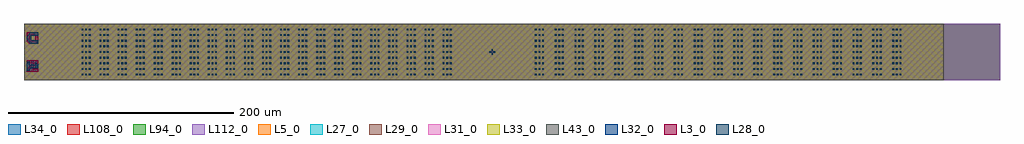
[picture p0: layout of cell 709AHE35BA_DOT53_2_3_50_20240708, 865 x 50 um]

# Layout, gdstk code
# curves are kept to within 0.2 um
from math import pi, radians
import gdstk
lib = gdstk.Library(unit=1e-6, precision=1e-09)
def R(c, l, rs):  # rectangles x0, y0, x1, y1
    for r in rs: c.add(gdstk.rectangle(r[:2], r[2:], *l))
def A(c, l, x, y, w, h, nx, ny, dx, dy):  # array of equal rectangles
    R(c, l, [(x+i*dx, y+j*dy, x+i*dx+w, y+j*dy+h) for i in range(nx) for j in range(ny)])
def P(c, l, *ps):  # polygons
    for p in ps: c.add(gdstk.Polygon(p, *l))
L3_0 = (3, 0)
L5_0 = (5, 0)
L27_0 = (27, 0)
L28_0 = (28, 0)
L29_0 = (29, 0)
L31_0 = (31, 0)
L32_0 = (32, 0)
L33_0 = (33, 0)
L34_0 = (34, 0)
L43_0 = (43, 0)
L94_0 = (94, 0)
L108_0 = (108, 0)
L112_0 = (112, 0)

dot53_800_50_1_6_1_6_t_3 = lib.new_cell('DOT53_800_50_1_6_1_6_T_3_T')
A(dot53_800_50_1_6_1_6_t_3, L3_0, 51, 4.2, 1.6, 1.6, 3, 9, 3.2, 5)
A(dot53_800_50_1_6_1_6_t_3, L3_0, 67, 4.2, 1.6, 1.6, 3, 9, 3.2, 5)
A(dot53_800_50_1_6_1_6_t_3, L3_0, 83, 4.2, 1.6, 1.6, 3, 9, 3.2, 5)
A(dot53_800_50_1_6_1_6_t_3, L3_0, 99, 4.2, 1.6, 1.6, 3, 9, 3.2, 5)
A(dot53_800_50_1_6_1_6_t_3, L3_0, 115, 4.2, 1.6, 1.6, 3, 9, 3.2, 5)
A(dot53_800_50_1_6_1_6_t_3, L3_0, 131, 4.2, 1.6, 1.6, 3, 9, 3.2, 5)
A(dot53_800_50_1_6_1_6_t_3, L3_0, 147, 4.2, 1.6, 1.6, 3, 9, 3.2, 5)
A(dot53_800_50_1_6_1_6_t_3, L3_0, 163, 4.2, 1.6, 1.6, 3, 9, 3.2, 5)
A(dot53_800_50_1_6_1_6_t_3, L3_0, 179, 4.2, 1.6, 1.6, 3, 9, 3.2, 5)
A(dot53_800_50_1_6_1_6_t_3, L3_0, 195, 4.2, 1.6, 1.6, 3, 9, 3.2, 5)
A(dot53_800_50_1_6_1_6_t_3, L3_0, 211, 4.2, 1.6, 1.6, 3, 9, 3.2, 5)
A(dot53_800_50_1_6_1_6_t_3, L3_0, 227, 4.2, 1.6, 1.6, 3, 9, 3.2, 5)
A(dot53_800_50_1_6_1_6_t_3, L3_0, 243, 4.2, 1.6, 1.6, 3, 9, 3.2, 5)
A(dot53_800_50_1_6_1_6_t_3, L3_0, 259, 4.2, 1.6, 1.6, 3, 9, 3.2, 5)
A(dot53_800_50_1_6_1_6_t_3, L3_0, 275, 4.2, 1.6, 1.6, 3, 9, 3.2, 5)
A(dot53_800_50_1_6_1_6_t_3, L3_0, 291, 4.2, 1.6, 1.6, 3, 9, 3.2, 5)
A(dot53_800_50_1_6_1_6_t_3, L3_0, 307, 4.2, 1.6, 1.6, 3, 9, 3.2, 5)
A(dot53_800_50_1_6_1_6_t_3, L3_0, 323, 4.2, 1.6, 1.6, 3, 9, 3.2, 5)
A(dot53_800_50_1_6_1_6_t_3, L3_0, 339, 4.2, 1.6, 1.6, 3, 9, 3.2, 5)
A(dot53_800_50_1_6_1_6_t_3, L3_0, 355, 4.2, 1.6, 1.6, 3, 9, 3.2, 5)
A(dot53_800_50_1_6_1_6_t_3, L3_0, 371, 4.2, 1.6, 1.6, 3, 9, 3.2, 5)
A(dot53_800_50_1_6_1_6_t_3, L3_0, 452.8, 4.2, 1.6, 1.6, 3, 9, 3.2, 5)
A(dot53_800_50_1_6_1_6_t_3, L3_0, 470.4, 4.2, 1.6, 1.6, 3, 9, 3.2, 5)
A(dot53_800_50_1_6_1_6_t_3, L3_0, 488, 4.2, 1.6, 1.6, 3, 9, 3.2, 5)
A(dot53_800_50_1_6_1_6_t_3, L3_0, 505.6, 4.2, 1.6, 1.6, 3, 9, 3.2, 5)
A(dot53_800_50_1_6_1_6_t_3, L3_0, 523.2, 4.2, 1.6, 1.6, 3, 9, 3.2, 5)
A(dot53_800_50_1_6_1_6_t_3, L3_0, 540.8, 4.2, 1.6, 1.6, 3, 9, 3.2, 5)
A(dot53_800_50_1_6_1_6_t_3, L3_0, 558.4, 4.2, 1.6, 1.6, 3, 9, 3.2, 5)
A(dot53_800_50_1_6_1_6_t_3, L3_0, 576, 4.2, 1.6, 1.6, 3, 9, 3.2, 5)
A(dot53_800_50_1_6_1_6_t_3, L3_0, 593.6, 4.2, 1.6, 1.6, 3, 9, 3.2, 5)
A(dot53_800_50_1_6_1_6_t_3, L3_0, 611.2, 4.2, 1.6, 1.6, 3, 9, 3.2, 5)
A(dot53_800_50_1_6_1_6_t_3, L3_0, 628.8, 4.2, 1.6, 1.6, 3, 9, 3.2, 5)
A(dot53_800_50_1_6_1_6_t_3, L3_0, 646.4, 4.2, 1.6, 1.6, 3, 9, 3.2, 5)
A(dot53_800_50_1_6_1_6_t_3, L3_0, 664, 4.2, 1.6, 1.6, 3, 9, 3.2, 5)
A(dot53_800_50_1_6_1_6_t_3, L3_0, 681.6, 4.2, 1.6, 1.6, 3, 9, 3.2, 5)
A(dot53_800_50_1_6_1_6_t_3, L3_0, 699.2, 4.2, 1.6, 1.6, 3, 9, 3.2, 5)
A(dot53_800_50_1_6_1_6_t_3, L3_0, 716.8, 4.2, 1.6, 1.6, 3, 9, 3.2, 5)
A(dot53_800_50_1_6_1_6_t_3, L3_0, 734.4, 4.2, 1.6, 1.6, 3, 9, 3.2, 5)
A(dot53_800_50_1_6_1_6_t_3, L3_0, 752, 4.2, 1.6, 1.6, 3, 9, 3.2, 5)
A(dot53_800_50_1_6_1_6_t_3, L3_0, 769.6, 4.2, 1.6, 1.6, 3, 9, 3.2, 5)
P(dot53_800_50_1_6_1_6_t_3, L3_0, [(415.5,24.5),(417.5,24.5),(417.5,25.5),(415.5,25.5),(415.5,27.5),(414.5,27.5),(414.5,25.5),(412.5,25.5),(412.5,24.5),(414.5,24.5),(414.5,22.5),(415.5,22.5)])
R(dot53_800_50_1_6_1_6_t_3, L5_0, [(15,0,815,50)])
R(dot53_800_50_1_6_1_6_t_3, L27_0, [(15,0,815,50)])
R(dot53_800_50_1_6_1_6_t_3, L29_0, [(15,0,815,50)])
R(dot53_800_50_1_6_1_6_t_3, L31_0, [(15,0,815,50)])
R(dot53_800_50_1_6_1_6_t_3, L33_0, [(15,0,815,50)])
R(dot53_800_50_1_6_1_6_t_3, L34_0, [(15,0,865,50)])
R(dot53_800_50_1_6_1_6_t_3, L43_0, [(15,0,815,50)])
R(dot53_800_50_1_6_1_6_t_3, L94_0, [(15,0,865,50)])
R(dot53_800_50_1_6_1_6_t_3, L108_0, [(15,0,865,50)])
R(dot53_800_50_1_6_1_6_t_3, L112_0, [(15,0,865,50)])

c_dot53_800_50_1_6_1_6_t_3 = lib.new_cell('DOT53_800_50_1_6_1_6_T_3_name')
P(c_dot53_800_50_1_6_1_6_t_3, L3_0, [(15.5,2.5),(17.5,4.5),(17.5,10.5),(15.5,12.5),(7.5,12.5),(7.5,5),(10,5),(10,10),(14,10),(15,9),(15,6),(14,5),(7.5,5),(7.5,2.5)],
  [(35,8.5),(40,2.5),(42.5,2.5),(42.5,12.5),(40,12.5),(40,6.5),(35,12.5),(32.5,12.5),(32.5,2.5),(35,2.5)])
R(c_dot53_800_50_1_6_1_6_t_3, L5_0, [(0,0,50,15)])
R(c_dot53_800_50_1_6_1_6_t_3, L27_0, [(0,0,50,15)])
R(c_dot53_800_50_1_6_1_6_t_3, L29_0, [(0,0,50,15)])
R(c_dot53_800_50_1_6_1_6_t_3, L31_0, [(0,0,50,15)])
R(c_dot53_800_50_1_6_1_6_t_3, L33_0, [(0,0,50,15)])
R(c_dot53_800_50_1_6_1_6_t_3, L34_0, [(0,0,50,15)])
R(c_dot53_800_50_1_6_1_6_t_3, L43_0, [(0,0,50,15)])
R(c_dot53_800_50_1_6_1_6_t_3, L94_0, [(0,0,50,15)])
R(c_dot53_800_50_1_6_1_6_t_3, L108_0, [(0,0,50,15)])
R(c_dot53_800_50_1_6_1_6_t_3, L112_0, [(0,0,50,15)])

dot53_800_50_1_6_1_6_t_2 = lib.new_cell('DOT53_800_50_1_6_1_6_T_28_T')
R(dot53_800_50_1_6_1_6_t_2, L5_0, [(15,0,815,50)])
R(dot53_800_50_1_6_1_6_t_2, L27_0, [(15,0,815,50)])
A(dot53_800_50_1_6_1_6_t_2, L28_0, 51, 4.2, 1.6, 1.6, 3, 9, 3.2, 5)
A(dot53_800_50_1_6_1_6_t_2, L28_0, 67, 4.2, 1.6, 1.6, 3, 9, 3.2, 5)
A(dot53_800_50_1_6_1_6_t_2, L28_0, 83, 4.2, 1.6, 1.6, 3, 9, 3.2, 5)
A(dot53_800_50_1_6_1_6_t_2, L28_0, 99, 4.2, 1.6, 1.6, 3, 9, 3.2, 5)
A(dot53_800_50_1_6_1_6_t_2, L28_0, 115, 4.2, 1.6, 1.6, 3, 9, 3.2, 5)
A(dot53_800_50_1_6_1_6_t_2, L28_0, 131, 4.2, 1.6, 1.6, 3, 9, 3.2, 5)
A(dot53_800_50_1_6_1_6_t_2, L28_0, 147, 4.2, 1.6, 1.6, 3, 9, 3.2, 5)
A(dot53_800_50_1_6_1_6_t_2, L28_0, 163, 4.2, 1.6, 1.6, 3, 9, 3.2, 5)
A(dot53_800_50_1_6_1_6_t_2, L28_0, 179, 4.2, 1.6, 1.6, 3, 9, 3.2, 5)
A(dot53_800_50_1_6_1_6_t_2, L28_0, 195, 4.2, 1.6, 1.6, 3, 9, 3.2, 5)
A(dot53_800_50_1_6_1_6_t_2, L28_0, 211, 4.2, 1.6, 1.6, 3, 9, 3.2, 5)
A(dot53_800_50_1_6_1_6_t_2, L28_0, 227, 4.2, 1.6, 1.6, 3, 9, 3.2, 5)
A(dot53_800_50_1_6_1_6_t_2, L28_0, 243, 4.2, 1.6, 1.6, 3, 9, 3.2, 5)
A(dot53_800_50_1_6_1_6_t_2, L28_0, 259, 4.2, 1.6, 1.6, 3, 9, 3.2, 5)
A(dot53_800_50_1_6_1_6_t_2, L28_0, 275, 4.2, 1.6, 1.6, 3, 9, 3.2, 5)
A(dot53_800_50_1_6_1_6_t_2, L28_0, 291, 4.2, 1.6, 1.6, 3, 9, 3.2, 5)
A(dot53_800_50_1_6_1_6_t_2, L28_0, 307, 4.2, 1.6, 1.6, 3, 9, 3.2, 5)
A(dot53_800_50_1_6_1_6_t_2, L28_0, 323, 4.2, 1.6, 1.6, 3, 9, 3.2, 5)
A(dot53_800_50_1_6_1_6_t_2, L28_0, 339, 4.2, 1.6, 1.6, 3, 9, 3.2, 5)
A(dot53_800_50_1_6_1_6_t_2, L28_0, 355, 4.2, 1.6, 1.6, 3, 9, 3.2, 5)
A(dot53_800_50_1_6_1_6_t_2, L28_0, 371, 4.2, 1.6, 1.6, 3, 9, 3.2, 5)
A(dot53_800_50_1_6_1_6_t_2, L28_0, 452.8, 4.2, 1.6, 1.6, 3, 9, 3.2, 5)
A(dot53_800_50_1_6_1_6_t_2, L28_0, 470.4, 4.2, 1.6, 1.6, 3, 9, 3.2, 5)
A(dot53_800_50_1_6_1_6_t_2, L28_0, 488, 4.2, 1.6, 1.6, 3, 9, 3.2, 5)
A(dot53_800_50_1_6_1_6_t_2, L28_0, 505.6, 4.2, 1.6, 1.6, 3, 9, 3.2, 5)
A(dot53_800_50_1_6_1_6_t_2, L28_0, 523.2, 4.2, 1.6, 1.6, 3, 9, 3.2, 5)
A(dot53_800_50_1_6_1_6_t_2, L28_0, 540.8, 4.2, 1.6, 1.6, 3, 9, 3.2, 5)
A(dot53_800_50_1_6_1_6_t_2, L28_0, 558.4, 4.2, 1.6, 1.6, 3, 9, 3.2, 5)
A(dot53_800_50_1_6_1_6_t_2, L28_0, 576, 4.2, 1.6, 1.6, 3, 9, 3.2, 5)
A(dot53_800_50_1_6_1_6_t_2, L28_0, 593.6, 4.2, 1.6, 1.6, 3, 9, 3.2, 5)
A(dot53_800_50_1_6_1_6_t_2, L28_0, 611.2, 4.2, 1.6, 1.6, 3, 9, 3.2, 5)
A(dot53_800_50_1_6_1_6_t_2, L28_0, 628.8, 4.2, 1.6, 1.6, 3, 9, 3.2, 5)
A(dot53_800_50_1_6_1_6_t_2, L28_0, 646.4, 4.2, 1.6, 1.6, 3, 9, 3.2, 5)
A(dot53_800_50_1_6_1_6_t_2, L28_0, 664, 4.2, 1.6, 1.6, 3, 9, 3.2, 5)
A(dot53_800_50_1_6_1_6_t_2, L28_0, 681.6, 4.2, 1.6, 1.6, 3, 9, 3.2, 5)
A(dot53_800_50_1_6_1_6_t_2, L28_0, 699.2, 4.2, 1.6, 1.6, 3, 9, 3.2, 5)
A(dot53_800_50_1_6_1_6_t_2, L28_0, 716.8, 4.2, 1.6, 1.6, 3, 9, 3.2, 5)
A(dot53_800_50_1_6_1_6_t_2, L28_0, 734.4, 4.2, 1.6, 1.6, 3, 9, 3.2, 5)
A(dot53_800_50_1_6_1_6_t_2, L28_0, 752, 4.2, 1.6, 1.6, 3, 9, 3.2, 5)
A(dot53_800_50_1_6_1_6_t_2, L28_0, 769.6, 4.2, 1.6, 1.6, 3, 9, 3.2, 5)
P(dot53_800_50_1_6_1_6_t_2, L28_0, [(415.5,24.5),(417.5,24.5),(417.5,25.5),(415.5,25.5),(415.5,27.5),(414.5,27.5),(414.5,25.5),(412.5,25.5),(412.5,24.5),(414.5,24.5),(414.5,22.5),(415.5,22.5)])
R(dot53_800_50_1_6_1_6_t_2, L29_0, [(15,0,815,50)])
R(dot53_800_50_1_6_1_6_t_2, L31_0, [(15,0,815,50)])
R(dot53_800_50_1_6_1_6_t_2, L33_0, [(15,0,815,50)])
R(dot53_800_50_1_6_1_6_t_2, L34_0, [(15,0,865,50)])
R(dot53_800_50_1_6_1_6_t_2, L43_0, [(15,0,815,50)])
R(dot53_800_50_1_6_1_6_t_2, L94_0, [(15,0,865,50)])
R(dot53_800_50_1_6_1_6_t_2, L108_0, [(15,0,865,50)])
R(dot53_800_50_1_6_1_6_t_2, L112_0, [(15,0,865,50)])

c_dot53_800_50_1_6_1_6_t_2 = lib.new_cell('DOT53_800_50_1_6_1_6_T_28_name')
R(c_dot53_800_50_1_6_1_6_t_2, L5_0, [(0,0,50,15)])
R(c_dot53_800_50_1_6_1_6_t_2, L27_0, [(0,0,50,15)])
P(c_dot53_800_50_1_6_1_6_t_2, L28_0, [(17.5,5.5),(17.5,12.5),(14.5,12.5),(14.5,6.5),(10.5,6.5),(10.5,12.5),(7.5,12.5),(7.5,5.5),(11.5,2.5),(13.5,2.5)],
  [(41.5,5),(39.5,5),(39.5,12.5),(36.5,12.5),(36.5,11.5),(34.5,11.5),(34.5,9.5),(36.5,9.5),(36.5,5),(33.5,5),(33.5,2.5),(41.5,2.5)])
R(c_dot53_800_50_1_6_1_6_t_2, L29_0, [(0,0,50,15)])
R(c_dot53_800_50_1_6_1_6_t_2, L31_0, [(0,0,50,15)])
R(c_dot53_800_50_1_6_1_6_t_2, L33_0, [(0,0,50,15)])
R(c_dot53_800_50_1_6_1_6_t_2, L34_0, [(0,0,50,15)])
R(c_dot53_800_50_1_6_1_6_t_2, L43_0, [(0,0,50,15)])
R(c_dot53_800_50_1_6_1_6_t_2, L94_0, [(0,0,50,15)])
R(c_dot53_800_50_1_6_1_6_t_2, L108_0, [(0,0,50,15)])
R(c_dot53_800_50_1_6_1_6_t_2, L112_0, [(0,0,50,15)])

c_dot53_800_50_1_6_1_6_t_3_ = lib.new_cell('DOT53_800_50_1_6_1_6_T_32_T')
R(c_dot53_800_50_1_6_1_6_t_3_, L5_0, [(15,0,815,50)])
R(c_dot53_800_50_1_6_1_6_t_3_, L27_0, [(15,0,815,50)])
R(c_dot53_800_50_1_6_1_6_t_3_, L29_0, [(15,0,815,50)])
R(c_dot53_800_50_1_6_1_6_t_3_, L31_0, [(15,0,815,50)])
A(c_dot53_800_50_1_6_1_6_t_3_, L32_0, 51, 4.2, 1.6, 1.6, 3, 9, 3.2, 5)
A(c_dot53_800_50_1_6_1_6_t_3_, L32_0, 67, 4.2, 1.6, 1.6, 3, 9, 3.2, 5)
A(c_dot53_800_50_1_6_1_6_t_3_, L32_0, 83, 4.2, 1.6, 1.6, 3, 9, 3.2, 5)
A(c_dot53_800_50_1_6_1_6_t_3_, L32_0, 99, 4.2, 1.6, 1.6, 3, 9, 3.2, 5)
A(c_dot53_800_50_1_6_1_6_t_3_, L32_0, 115, 4.2, 1.6, 1.6, 3, 9, 3.2, 5)
A(c_dot53_800_50_1_6_1_6_t_3_, L32_0, 131, 4.2, 1.6, 1.6, 3, 9, 3.2, 5)
A(c_dot53_800_50_1_6_1_6_t_3_, L32_0, 147, 4.2, 1.6, 1.6, 3, 9, 3.2, 5)
A(c_dot53_800_50_1_6_1_6_t_3_, L32_0, 163, 4.2, 1.6, 1.6, 3, 9, 3.2, 5)
A(c_dot53_800_50_1_6_1_6_t_3_, L32_0, 179, 4.2, 1.6, 1.6, 3, 9, 3.2, 5)
A(c_dot53_800_50_1_6_1_6_t_3_, L32_0, 195, 4.2, 1.6, 1.6, 3, 9, 3.2, 5)
A(c_dot53_800_50_1_6_1_6_t_3_, L32_0, 211, 4.2, 1.6, 1.6, 3, 9, 3.2, 5)
A(c_dot53_800_50_1_6_1_6_t_3_, L32_0, 227, 4.2, 1.6, 1.6, 3, 9, 3.2, 5)
A(c_dot53_800_50_1_6_1_6_t_3_, L32_0, 243, 4.2, 1.6, 1.6, 3, 9, 3.2, 5)
A(c_dot53_800_50_1_6_1_6_t_3_, L32_0, 259, 4.2, 1.6, 1.6, 3, 9, 3.2, 5)
A(c_dot53_800_50_1_6_1_6_t_3_, L32_0, 275, 4.2, 1.6, 1.6, 3, 9, 3.2, 5)
A(c_dot53_800_50_1_6_1_6_t_3_, L32_0, 291, 4.2, 1.6, 1.6, 3, 9, 3.2, 5)
A(c_dot53_800_50_1_6_1_6_t_3_, L32_0, 307, 4.2, 1.6, 1.6, 3, 9, 3.2, 5)
A(c_dot53_800_50_1_6_1_6_t_3_, L32_0, 323, 4.2, 1.6, 1.6, 3, 9, 3.2, 5)
A(c_dot53_800_50_1_6_1_6_t_3_, L32_0, 339, 4.2, 1.6, 1.6, 3, 9, 3.2, 5)
A(c_dot53_800_50_1_6_1_6_t_3_, L32_0, 355, 4.2, 1.6, 1.6, 3, 9, 3.2, 5)
A(c_dot53_800_50_1_6_1_6_t_3_, L32_0, 371, 4.2, 1.6, 1.6, 3, 9, 3.2, 5)
A(c_dot53_800_50_1_6_1_6_t_3_, L32_0, 452.8, 4.2, 1.6, 1.6, 3, 9, 3.2, 5)
A(c_dot53_800_50_1_6_1_6_t_3_, L32_0, 470.4, 4.2, 1.6, 1.6, 3, 9, 3.2, 5)
A(c_dot53_800_50_1_6_1_6_t_3_, L32_0, 488, 4.2, 1.6, 1.6, 3, 9, 3.2, 5)
A(c_dot53_800_50_1_6_1_6_t_3_, L32_0, 505.6, 4.2, 1.6, 1.6, 3, 9, 3.2, 5)
A(c_dot53_800_50_1_6_1_6_t_3_, L32_0, 523.2, 4.2, 1.6, 1.6, 3, 9, 3.2, 5)
A(c_dot53_800_50_1_6_1_6_t_3_, L32_0, 540.8, 4.2, 1.6, 1.6, 3, 9, 3.2, 5)
A(c_dot53_800_50_1_6_1_6_t_3_, L32_0, 558.4, 4.2, 1.6, 1.6, 3, 9, 3.2, 5)
A(c_dot53_800_50_1_6_1_6_t_3_, L32_0, 576, 4.2, 1.6, 1.6, 3, 9, 3.2, 5)
A(c_dot53_800_50_1_6_1_6_t_3_, L32_0, 593.6, 4.2, 1.6, 1.6, 3, 9, 3.2, 5)
A(c_dot53_800_50_1_6_1_6_t_3_, L32_0, 611.2, 4.2, 1.6, 1.6, 3, 9, 3.2, 5)
A(c_dot53_800_50_1_6_1_6_t_3_, L32_0, 628.8, 4.2, 1.6, 1.6, 3, 9, 3.2, 5)
A(c_dot53_800_50_1_6_1_6_t_3_, L32_0, 646.4, 4.2, 1.6, 1.6, 3, 9, 3.2, 5)
A(c_dot53_800_50_1_6_1_6_t_3_, L32_0, 664, 4.2, 1.6, 1.6, 3, 9, 3.2, 5)
A(c_dot53_800_50_1_6_1_6_t_3_, L32_0, 681.6, 4.2, 1.6, 1.6, 3, 9, 3.2, 5)
A(c_dot53_800_50_1_6_1_6_t_3_, L32_0, 699.2, 4.2, 1.6, 1.6, 3, 9, 3.2, 5)
A(c_dot53_800_50_1_6_1_6_t_3_, L32_0, 716.8, 4.2, 1.6, 1.6, 3, 9, 3.2, 5)
A(c_dot53_800_50_1_6_1_6_t_3_, L32_0, 734.4, 4.2, 1.6, 1.6, 3, 9, 3.2, 5)
A(c_dot53_800_50_1_6_1_6_t_3_, L32_0, 752, 4.2, 1.6, 1.6, 3, 9, 3.2, 5)
A(c_dot53_800_50_1_6_1_6_t_3_, L32_0, 769.6, 4.2, 1.6, 1.6, 3, 9, 3.2, 5)
P(c_dot53_800_50_1_6_1_6_t_3_, L32_0, [(415.5,24.5),(417.5,24.5),(417.5,25.5),(415.5,25.5),(415.5,27.5),(414.5,27.5),(414.5,25.5),(412.5,25.5),(412.5,24.5),(414.5,24.5),(414.5,22.5),(415.5,22.5)])
R(c_dot53_800_50_1_6_1_6_t_3_, L33_0, [(15,0,815,50)])
R(c_dot53_800_50_1_6_1_6_t_3_, L34_0, [(15,0,865,50)])
R(c_dot53_800_50_1_6_1_6_t_3_, L43_0, [(15,0,815,50)])
R(c_dot53_800_50_1_6_1_6_t_3_, L94_0, [(15,0,865,50)])
R(c_dot53_800_50_1_6_1_6_t_3_, L108_0, [(15,0,865,50)])
R(c_dot53_800_50_1_6_1_6_t_3_, L112_0, [(15,0,865,50)])

c_dot53_800_50_1_6_1_6_t_3__ = lib.new_cell('DOT53_800_50_1_6_1_6_T_32_name')
R(c_dot53_800_50_1_6_1_6_t_3__, L5_0, [(0,0,50,15)])
R(c_dot53_800_50_1_6_1_6_t_3__, L27_0, [(0,0,50,15)])
R(c_dot53_800_50_1_6_1_6_t_3__, L29_0, [(0,0,50,15)])
R(c_dot53_800_50_1_6_1_6_t_3__, L31_0, [(0,0,50,15)])
P(c_dot53_800_50_1_6_1_6_t_3__, L32_0, [(17.5,5.5),(17.5,12.5),(14.5,12.5),(14.5,6.5),(10.5,6.5),(10.5,12.5),(7.5,12.5),(7.5,5.5),(11.5,2.5),(13.5,2.5)],
  [(42.5,12.5),(32.5,12.5),(32.5,10),(39.5,10),(39.5,8.8),(32.5,8.8),(32.5,6.3),(39.5,6.3),(39.5,5),(32.5,5),(32.5,2.5),(42.5,2.5)])
R(c_dot53_800_50_1_6_1_6_t_3__, L33_0, [(0,0,50,15)])
R(c_dot53_800_50_1_6_1_6_t_3__, L34_0, [(0,0,50,15)])
R(c_dot53_800_50_1_6_1_6_t_3__, L43_0, [(0,0,50,15)])
R(c_dot53_800_50_1_6_1_6_t_3__, L94_0, [(0,0,50,15)])
R(c_dot53_800_50_1_6_1_6_t_3__, L108_0, [(0,0,50,15)])
R(c_dot53_800_50_1_6_1_6_t_3__, L112_0, [(0,0,50,15)])

c_709ahe35ba_dot53_2_3_50_ = lib.new_cell('709AHE35BA_DOT53_2_3_50_20240708')
c_709ahe35ba_dot53_2_3_50_.add(gdstk.Reference(dot53_800_50_1_6_1_6_t_3, (0,0)))
c_709ahe35ba_dot53_2_3_50_.add(gdstk.Reference(c_dot53_800_50_1_6_1_6_t_3, (0,50), rotation=3*pi/2))
c_709ahe35ba_dot53_2_3_50_.add(gdstk.Reference(dot53_800_50_1_6_1_6_t_2, (0,0)))
c_709ahe35ba_dot53_2_3_50_.add(gdstk.Reference(c_dot53_800_50_1_6_1_6_t_2, (0,50), rotation=3*pi/2))
c_709ahe35ba_dot53_2_3_50_.add(gdstk.Reference(c_dot53_800_50_1_6_1_6_t_3_, (0,0)))
c_709ahe35ba_dot53_2_3_50_.add(gdstk.Reference(c_dot53_800_50_1_6_1_6_t_3__, (0,50), rotation=3*pi/2))

lib.write_gds('709AHE35BA_DOT53_2_3_50_20240708.gds')
